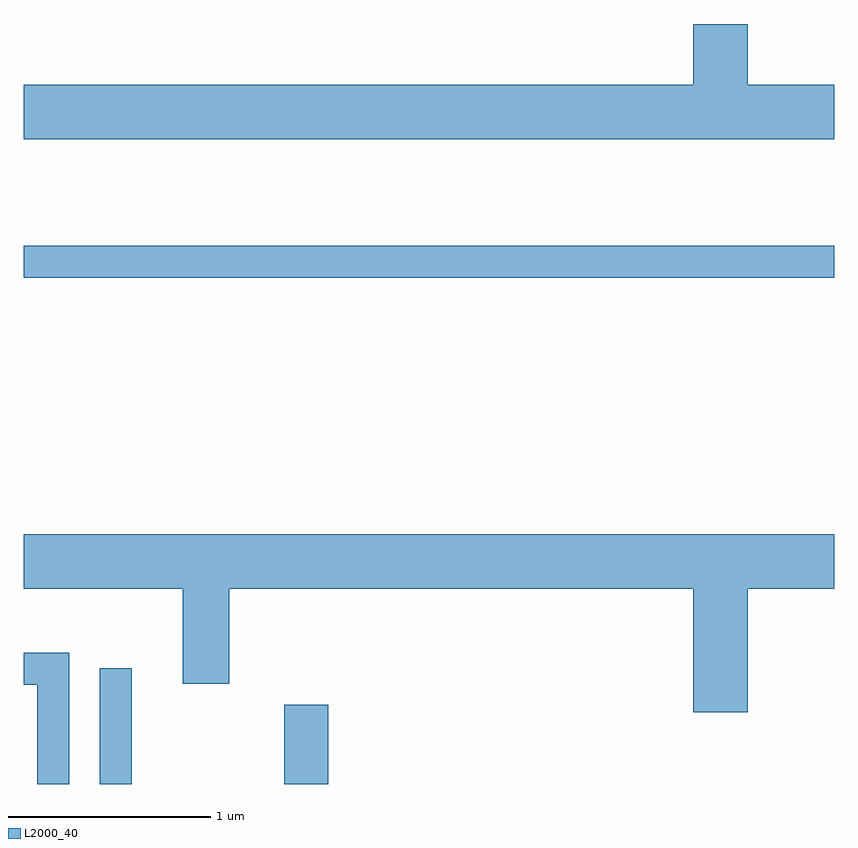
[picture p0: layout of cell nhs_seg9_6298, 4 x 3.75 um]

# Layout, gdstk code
import gdstk
lib = gdstk.Library(unit=1e-6, precision=1e-09)
def R(c, l, rs):  # rectangles x0, y0, x1, y1
    for r in rs: c.add(gdstk.rectangle(r[:2], r[2:], *l))
def P(c, l, *ps):  # polygons
    for p in ps: c.add(gdstk.Polygon(p, *l))
L2000_40 = (2000, 40)

nhs_seg9_6298 = lib.new_cell('nhs_seg9_6298')
R(nhs_seg9_6298, L2000_40, [(371.986,1966.432,372.144,1967.003), (372.896,1966.432,373.114,1966.824), (371.611,1968.931,375.611,1969.089)])
P(nhs_seg9_6298, L2000_40, [(375.611,1969.884),(375.184,1969.884),(375.184,1970.184),(374.916,1970.184),(374.916,1969.884),(371.611,1969.884),(371.611,1969.616),(375.611,1969.616)],
  [(375.184,1967.396),(375.611,1967.396),(375.611,1967.664),(371.611,1967.664),(371.611,1967.396),(372.396,1967.396),(372.396,1966.926),(372.624,1966.926),(372.624,1967.396),(374.916,1967.396),(374.916,1966.786),(375.184,1966.786)],
  [(371.834,1967.079),(371.611,1967.079),(371.611,1966.921),(371.676,1966.921),(371.676,1966.432),(371.834,1966.432)])

lib.write_gds('nhs_seg9_6298.gds')
